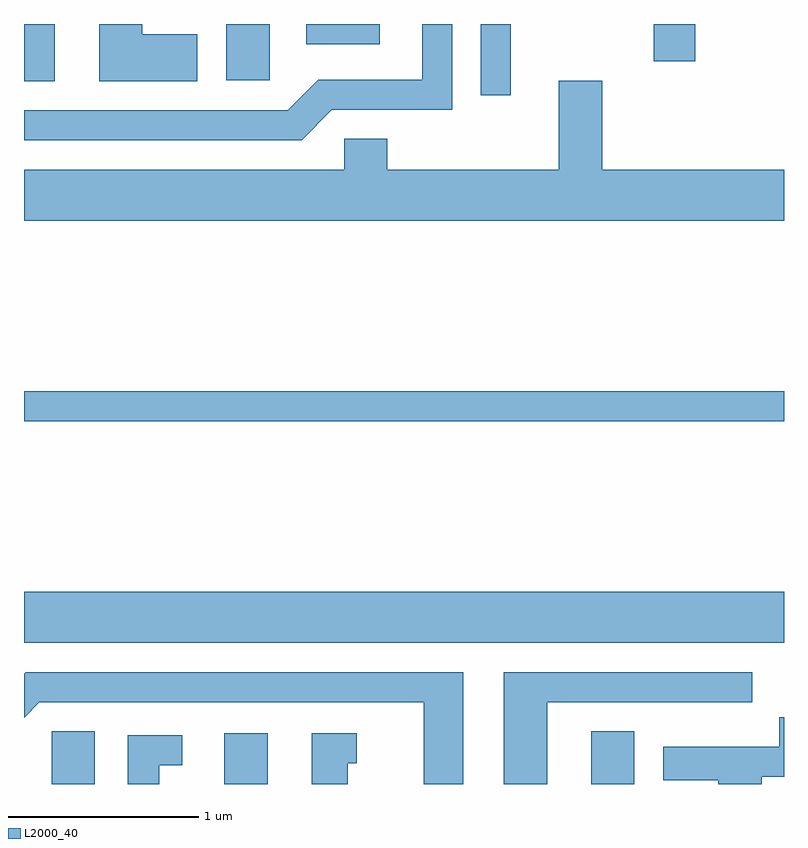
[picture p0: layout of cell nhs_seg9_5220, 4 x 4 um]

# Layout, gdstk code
import gdstk
lib = gdstk.Library(unit=1e-6, precision=1e-09)
def R(c, l, rs):  # rectangles x0, y0, x1, y1
    for r in rs: c.add(gdstk.rectangle(r[:2], r[2:], *l))
def P(c, l, *ps):  # polygons
    for p in ps: c.add(gdstk.Polygon(p, *l))
L2000_40 = (2000, 40)

nhs_seg9_5220 = lib.new_cell('nhs_seg9_5220')
R(nhs_seg9_5220, L2000_40, [(339.756,1964.432,339.984,1964.709), (340.666,1964.432,340.894,1964.699), (342.596,1964.432,342.824,1964.709), (339.611,1965.176,343.611,1965.444), (339.611,1966.341,343.611,1966.499), (342.016,1968.058,342.174,1968.432), (339.611,1968.131,339.774,1968.432), (340.676,1968.136,340.904,1968.432), (342.926,1968.236,343.144,1968.432), (341.096,1968.326,341.484,1968.432)])
P(nhs_seg9_5220, L2000_40, [(341.232,1967.981),(341.864,1967.981),(341.864,1968.432),(341.706,1968.432),(341.706,1968.139),(341.159,1968.139),(340.999,1967.979),(339.611,1967.979),(339.611,1967.821),(341.072,1967.821)],
  [(340.524,1968.379),(340.234,1968.379),(340.234,1968.432),(340.006,1968.432),(340.006,1968.131),(340.524,1968.131)],
  [(343.611,1967.664),(342.654,1967.664),(342.654,1968.134),(342.426,1968.134),(342.426,1967.664),(341.524,1967.664),(341.524,1967.829),(341.296,1967.829),(341.296,1967.664),(339.611,1967.664),(339.611,1967.396),(343.611,1967.396)],
  [(341.924,1965.019),(339.619,1965.019),(339.611,1965.011),(339.611,1964.781),(339.692,1964.861),(341.716,1964.861),(341.716,1964.432),(341.924,1964.432)],
  [(342.364,1964.861),(343.443,1964.861),(343.443,1965.019),(342.136,1965.019),(342.136,1964.432),(342.364,1964.432)],
  [(343.494,1964.471),(343.611,1964.471),(343.611,1964.783),(343.586,1964.783),(343.586,1964.629),(342.976,1964.629),(342.976,1964.451),(343.266,1964.451),(343.266,1964.432),(343.494,1964.432)],
  [(341.314,1964.541),(341.363,1964.541),(341.363,1964.699),(341.126,1964.699),(341.126,1964.432),(341.314,1964.432)],
  [(340.324,1964.531),(340.443,1964.531),(340.443,1964.689),(340.156,1964.689),(340.156,1964.432),(340.324,1964.432)])

lib.write_gds('nhs_seg9_5220.gds')
